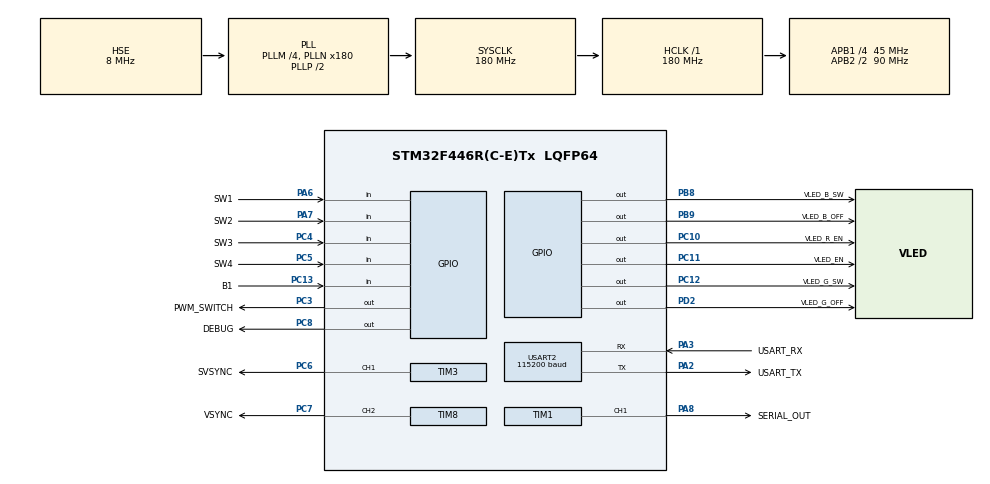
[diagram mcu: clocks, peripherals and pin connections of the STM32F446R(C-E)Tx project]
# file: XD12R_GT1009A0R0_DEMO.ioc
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Dma.Request0=TIM1_CH1
Dma.Request1=USART2_TX
Dma.TIM1_CH1.0.Direction=DMA_MEMORY_TO_PERIPH
Dma.TIM1_CH1.0.FIFOMode=DMA_FIFOMODE_DISABLE
Dma.TIM1_CH1.0.Instance=DMA2_Stream1
Dma.TIM1_CH1.0.MemDataAlignment=DMA_MDATAALIGN_HALFWORD
Dma.TIM1_CH1.0.MemInc=DMA_MINC_ENABLE
Dma.TIM1_CH1.0.Mode=DMA_NORMAL
Dma.TIM1_CH1.0.PeriphDataAlignment=DMA_PDATAALIGN_HALFWORD
Dma.TIM1_CH1.0.PeriphInc=DMA_PINC_DISABLE
Dma.TIM1_CH1.0.Priority=DMA_PRIORITY_LOW
Dma.USART2_TX.1.Direction=DMA_MEMORY_TO_PERIPH
Dma.USART2_TX.1.FIFOMode=DMA_FIFOMODE_DISABLE
Dma.USART2_TX.1.Instance=DMA1_Stream6
Dma.USART2_TX.1.MemDataAlignment=DMA_MDATAALIGN_BYTE
Dma.USART2_TX.1.MemInc=DMA_MINC_ENABLE
Dma.USART2_TX.1.Mode=DMA_NORMAL
Dma.USART2_TX.1.PeriphDataAlignment=DMA_PDATAALIGN_BYTE
Dma.USART2_TX.1.PeriphInc=DMA_PINC_DISABLE
Dma.USART2_TX.1.Priority=DMA_PRIORITY_LOW
Mcu.Family=STM32F4
Mcu.Name=STM32F446R(C-E)Tx
Mcu.Package=LQFP64
NVIC.DMA1_Stream6_IRQn=true\:0\:0\:false\:false\:true\:false\:true\:true
NVIC.DMA2_Stream1_IRQn=true\:0\:0\:false\:false\:true\:false\:true\:true
NVIC.PriorityGroup=NVIC_PRIORITYGROUP_4
NVIC.TIM3_IRQn=true\:1\:0\:true\:false\:true\:true\:true\:true
NVIC.TIM8_UP_TIM13_IRQn=true\:1\:0\:true\:false\:true\:true\:true\:true
NVIC.USART2_IRQn=true\:5\:0\:true\:false\:true\:true\:true\:true
PA13.GPIO_Label=TMS
PA13.Mode=Serial_Wire
PA13.Signal=SYS_JTMS-SWDIO
PA14.GPIO_Label=TCK
PA14.Mode=Serial_Wire
PA14.Signal=SYS_JTCK-SWCLK
PA2.GPIO_Label=USART_TX
PA2.Mode=Asynchronous
PA2.Signal=USART2_TX
PA3.GPIO_Label=USART_RX
PA3.Mode=Asynchronous
PA3.Signal=USART2_RX
PA6.GPIO_Label=SW1
PA6.Signal=GPIO_Input
PA7.GPIO_Label=SW2
PA7.Signal=GPIO_Input
PA8.GPIO_Label=SERIAL_OUT
PA8.GPIO_PuPd=GPIO_PULLDOWN
PA8.GPIO_Speed=GPIO_SPEED_FREQ_VERY_HIGH
PA8.Signal=S_TIM1_CH1
PB8.GPIO_Label=VLED_B_SW
PB8.PinState=GPIO_PIN_SET
PB8.Signal=GPIO_Output
PB9.GPIO_Label=VLED_B_OFF
PB9.GPIO_Speed=GPIO_SPEED_FREQ_VERY_HIGH
PB9.Signal=GPIO_Output
PC10.GPIO_Label=VLED_R_EN
PC10.Signal=GPIO_Output
PC11.GPIO_Label=VLED_EN
PC11.Signal=GPIO_Output
PC12.GPIO_Label=VLED_G_SW
PC12.Signal=GPIO_Output
PC13.GPIO_Label=B1
PC13.GPIO_PuPd=GPIO_PULLUP
PC13.Signal=GPIO_Input
PC14-OSC32_IN.Mode=LSE-External-Oscillator
PC14-OSC32_IN.Signal=RCC_OSC32_IN
PC15-OSC32_OUT.Mode=LSE-External-Oscillator
PC15-OSC32_OUT.Signal=RCC_OSC32_OUT
PC3.GPIO_Label=PWM_SWITCH
PC3.GPIO_Speed=GPIO_SPEED_FREQ_VERY_HIGH
PC3.Signal=GPIO_Output
PC4.GPIO_Label=SW3
PC4.Signal=GPIO_Input
PC5.GPIO_Label=SW4
PC5.Signal=GPIO_Input
PC6.GPIO_Label=SVSYNC
PC6.Signal=S_TIM3_CH1
PC7.GPIO_Label=VSYNC
PC7.Signal=S_TIM8_CH2
PC8.GPIO_Label=DEBUG
PC8.Signal=GPIO_Output
PD2.GPIO_Label=VLED_G_OFF
PD2.Signal=GPIO_Output
PH0-OSC_IN.Mode=HSE-External-Oscillator
PH0-OSC_IN.Signal=RCC_OSC_IN
PH1-OSC_OUT.Mode=HSE-External-Oscillator
PH1-OSC_OUT.Signal=RCC_OSC_OUT
ProjectManager.HeapSize=0x200
ProjectManager.StackSize=0x800
ProjectManager.TargetToolchain=EWARM V8.32
RCC.48MHZClocksFreq_Value=84000000
RCC.AHBFreq_Value=180000000
RCC.APB1CLKDivider=RCC_HCLK_DIV4
RCC.APB1Freq_Value=45000000
RCC.APB1TimFreq_Value=90000000
RCC.APB2CLKDivider=RCC_HCLK_DIV2
RCC.APB2Freq_Value=90000000
RCC.APB2TimFreq_Value=180000000
RCC.CortexFreq_Value=180000000
RCC.FLatency-AdvancedSettings=FLASH_LATENCY_5
RCC.HCLKFreq_Value=180000000
RCC.HSE_VALUE=8000000
RCC.HSI_VALUE=16000000
RCC.PLLI2SM=8
RCC.PLLI2SN=400
RCC.PLLI2SR=5
RCC.PLLM=4
RCC.PLLN=180
RCC.PLLSourceVirtual=RCC_PLLSOURCE_HSE
RCC.RCC_MCO1Source=RCC_MCO1SOURCE_PLLCLK
RCC.RCC_MCO2Source=RCC_MCO2SOURCE_PLLI2SCLK
RCC.RCC_MCODiv2=RCC_MCODIV_5
RCC.SYSCLKFreq_VALUE=180000000
RCC.SYSCLKSource=RCC_SYSCLKSOURCE_PLLCLK
RCC.USBFreq_Value=180000000
RCC.VCOOutputFreq_Value=360000000
SH.S_TIM1_CH1.0=TIM1_CH1,PWM Generation1 CH1
SH.S_TIM3_CH1.0=TIM3_CH1,PWM Generation1 CH1
SH.S_TIM8_CH2.0=TIM8_CH2,PWM Generation2 CH2
TIM1.AutomaticOutput=TIM_AUTOMATICOUTPUT_ENABLE
TIM1.Channel-PWM\ Generation1\ CH1=TIM_CHANNEL_1
TIM1.Period=179
TIM12.AutoReloadPreload=TIM_AUTORELOAD_PRELOAD_ENABLE
TIM12.ClockDivision=TIM_CLOCKDIVISION_DIV1
TIM12.Period=65535
TIM12.Prescaler=89
TIM3.AutoReloadPreload=TIM_AUTORELOAD_PRELOAD_DISABLE
TIM3.Channel-PWM\ Generation1\ CH1=TIM_CHANNEL_1
TIM3.Period=719
TIM3.Prescaler=0
TIM3.Pulse-PWM\ Generation1\ CH1=359
TIM8.AutomaticOutput=TIM_AUTOMATICOUTPUT_ENABLE
TIM8.Channel-PWM\ Generation2\ CH2=TIM_CHANNEL_2
TIM8.Period=49999
TIM8.Prescaler=29
TIM8.Pulse-PWM\ Generation2\ CH2=40
USART2.BaudRate=115200
USART2.VirtualMode=VM_ASYNC
VP_TIM12_VS_ClockSourceINT.Mode=Internal
VP_TIM1_VS_ClockSourceINT.Mode=Internal
VP_TIM3_VS_ClockSourceINT.Mode=Internal
VP_TIM8_VS_ClockSourceINT.Mode=Internal
board=NUCLEO-F446RE

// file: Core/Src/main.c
/* USER CODE BEGIN Header */
/**
  ******************************************************************************
  * @file           : main.c
  * @brief          : Main program body
  ******************************************************************************
  * @attention
  *
  * <h2><center>&copy; Copyright (c) 2021 STMicroelectronics.
  * All rights reserved.</center></h2>
  *
  * This software component is licensed by ST under Ultimate Liberty license
  * SLA0044, the "License"; You may not use this file except in compliance with
  * the License. You may obtain a copy of the License at:
  *                             www.st.com/SLA0044
  *
  ******************************************************************************
  */
#define __XDIC_MAIN_C__
#include <stdint.h>
/* USER CODE END Header */
#include "main.h"

/* USER CODE BEGIN Includes */
#include "config.h"
#include "jigbd_if.h"
#include "vsync_task.h"
#include "xdic.h"
#include "uart.h"
/* USER CODE END Includes */

/* USER CODE BEGIN PTD */
typedef void (*func_t)(void);

typedef struct tag_KEY_INFO
{
    uint32_t now_state;
    uint32_t prev_state;
    uint8_t press_cnt;
    func_t function;
} key_info_t;
/* USER CODE END PTD */

/* USER CODE BEGIN PD */
#define KEY_SIZE    (4)
/* USER CODE END PD */

/* USER CODE BEGIN PV */
static GPIO_TypeDef* gp_key_port[KEY_SIZE] = { SW1_GPIO_Port, SW2_GPIO_Port, SW3_GPIO_Port, SW4_GPIO_Port };
static uint32_t gn_key_pin[KEY_SIZE] = { SW1_Pin, SW2_Pin, SW3_Pin, SW4_Pin };
static key_info_t gt_key_info[KEY_SIZE] =
{
    {
        .now_state = 1,
        .prev_state = 1,
        .press_cnt = 0,
    },
    {
        .now_state = 1,
        .prev_state = 1,
        .press_cnt = 0,
    },
    {
        .now_state = 1,
        .prev_state = 1,
        .press_cnt = 0,
    },
    {
        .now_state = 1,
        .prev_state = 1,
        .press_cnt = 0,
    },
};
static uint8_t gn_key_task_tick;
/* USER CODE END PV */

void SystemClock_Config(void);
static void MX_GPIO_Init(void);
static void MX_DMA_Init(void);
static void MX_USART2_UART_Init(void);
static void MX_TIM12_Init(void);
static void MX_TIM8_Init(void);
static void MX_TIM1_Init(void);
static void MX_TIM3_Init(void);

/* USER CODE BEGIN 0 */
static void key_func_1(void)
{
    static uint8_t color = 1;
    LED_Select_Color(color);
    ++color;
    if (color == LED_COLOR_MAX)
    {
        color = 0;
    }
}

static void key_func_2(void)
{
    LED_Select_Brightness_Down();
}

static void key_func_3(void)
{
    LED_Select_Brightness_Up();
}

static void key_func_4(void)
{
    static uint8_t patter = 0;
    LED_Select_Pattern(patter);
    ++patter;
    if (patter == LED_PATTERN_MAX)
    {
        patter = 0;
    }
}

static void Key_Task(void)
{
    if (gn_key_task_tick == 0)
    {
        for (uint8_t i = 0U; i < KEY_SIZE; ++i)
        {
            gt_key_info[i].now_state = LL_GPIO_IsInputPinSet(gp_key_port[i], gn_key_pin[i]);
            if (gt_key_info[i].now_state != gt_key_info[i].prev_state)
            {
                if (gt_key_info[i].now_state == 0)
                {
                }
                else // Button Released
                {
                    if (gt_key_info[i].press_cnt >= 10)
                    {
                        if (gt_key_info[i].function != NULL)
                        {
                            gt_key_info[i].function();
                        }
                    }
                    gt_key_info[i].press_cnt = 0U;
                }
                gt_key_info[i].prev_state = gt_key_info[i].now_state;
            }
            else
            {
                if (gt_key_info[i].now_state == 0) // Button Pressed
                {
                    ++gt_key_info[i].press_cnt;
                }
                else
                {
                    // nothing
                }
            }
        }
        gn_key_task_tick = 10U; //10ms
    }
}

void sys_tick_handler(void)
{
    if (gn_xd_rx_timeout)
    {
        --gn_xd_rx_timeout;
    }
    if (gn_key_task_tick)
    {
        --gn_key_task_tick;
    }
}

/* USER CODE END 0 */

int main(void)
{

  /* MCU Configuration--------------------------------------------------------*/

  /* Reset of all peripherals, Initializes the Flash interface and the Systick. */
  HAL_Init();

  /* Configure the system clock */
  SystemClock_Config();

  /* Initialize all configured peripherals */
  MX_GPIO_Init();
  MX_DMA_Init();
  MX_USART2_UART_Init();
  MX_TIM12_Init();
  MX_TIM8_Init();
  MX_TIM1_Init();
  MX_TIM3_Init();
  /* USER CODE BEGIN 2 */

    gt_key_info[0].function = key_func_1;
    gt_key_info[1].function = key_func_2;
    gt_key_info[2].function = key_func_3;
    gt_key_info[3].function = key_func_4;

    JigBD_IF_Link_DMA_With_Buffer();

    LL_TIM_ClearFlag_UPDATE(TIM3);
    LL_TIM_EnableIT_UPDATE(TIM3);
    LL_TIM_DisableCounter(TIM3);
    LL_TIM_SetCounter(TIM3, 0);

    Comm_Init();

    LL_mDelay(100);
    XDIC_Init();
    Vsync_Timer_Start();

  /* USER CODE END 2 */

  /* Infinite loop */
  while (1)
  {

    /* USER CODE BEGIN 3 */
    XDIC_Vsync_Task();
    Comm_UART_Task();
    Key_Task();
  }
  /* USER CODE END 3 */
}

void SystemClock_Config(void)
{
  RCC_OscInitTypeDef RCC_OscInitStruct = {0};
  RCC_ClkInitTypeDef RCC_ClkInitStruct = {0};

  /** Configure the main internal regulator output voltage
  */
  __HAL_RCC_PWR_CLK_ENABLE();
  __HAL_PWR_VOLTAGESCALING_CONFIG(PWR_REGULATOR_VOLTAGE_SCALE1);

  /** Initializes the RCC Oscillators according to the specified parameters
  * in the RCC_OscInitTypeDef structure.
  */
  RCC_OscInitStruct.OscillatorType = RCC_OSCILLATORTYPE_HSE;
  RCC_OscInitStruct.HSEState = RCC_HSE_ON;
  RCC_OscInitStruct.PLL.PLLState = RCC_PLL_ON;
  RCC_OscInitStruct.PLL.PLLSource = RCC_PLLSOURCE_HSE;
  RCC_OscInitStruct.PLL.PLLM = 4;
  RCC_OscInitStruct.PLL.PLLN = 180;
  RCC_OscInitStruct.PLL.PLLP = RCC_PLLP_DIV2;
  RCC_OscInitStruct.PLL.PLLQ = 2;
  RCC_OscInitStruct.PLL.PLLR = 2;
  if (HAL_RCC_OscConfig(&RCC_OscInitStruct) != HAL_OK)
  {
    Error_Handler();
  }

  /** Activate the Over-Drive mode
  */
  if (HAL_PWREx_EnableOverDrive() != HAL_OK)
  {
    Error_Handler();
  }

  /** Initializes the CPU, AHB and APB buses clocks
  */
  RCC_ClkInitStruct.ClockType = RCC_CLOCKTYPE_HCLK|RCC_CLOCKTYPE_SYSCLK
                              |RCC_CLOCKTYPE_PCLK1|RCC_CLOCKTYPE_PCLK2;
  RCC_ClkInitStruct.SYSCLKSource = RCC_SYSCLKSOURCE_PLLCLK;
  RCC_ClkInitStruct.AHBCLKDivider = RCC_SYSCLK_DIV1;
  RCC_ClkInitStruct.APB1CLKDivider = RCC_HCLK_DIV4;
  RCC_ClkInitStruct.APB2CLKDivider = RCC_HCLK_DIV2;

  if (HAL_RCC_ClockConfig(&RCC_ClkInitStruct, FLASH_LATENCY_5) != HAL_OK)
  {
    Error_Handler();
  }
}

static void MX_TIM1_Init(void)
{

  LL_TIM_InitTypeDef TIM_InitStruct = {0};
  LL_TIM_OC_InitTypeDef TIM_OC_InitStruct = {0};
  LL_TIM_BDTR_InitTypeDef TIM_BDTRInitStruct = {0};

  LL_GPIO_InitTypeDef GPIO_InitStruct = {0};

  /* Peripheral clock enable */
  LL_APB2_GRP1_EnableClock(LL_APB2_GRP1_PERIPH_TIM1);

  /* TIM1 DMA Init */

  /* TIM1_CH1 Init */
  LL_DMA_SetChannelSelection(DMA2, LL_DMA_STREAM_1, LL_DMA_CHANNEL_6);

  LL_DMA_SetDataTransferDirection(DMA2, LL_DMA_STREAM_1, LL_DMA_DIRECTION_MEMORY_TO_PERIPH);

  LL_DMA_SetStreamPriorityLevel(DMA2, LL_DMA_STREAM_1, LL_DMA_PRIORITY_LOW);

  LL_DMA_SetMode(DMA2, LL_DMA_STREAM_1, LL_DMA_MODE_NORMAL);

  LL_DMA_SetPeriphIncMode(DMA2, LL_DMA_STREAM_1, LL_DMA_PERIPH_NOINCREMENT);

  LL_DMA_SetMemoryIncMode(DMA2, LL_DMA_STREAM_1, LL_DMA_MEMORY_INCREMENT);

  LL_DMA_SetPeriphSize(DMA2, LL_DMA_STREAM_1, LL_DMA_PDATAALIGN_HALFWORD);

  LL_DMA_SetMemorySize(DMA2, LL_DMA_STREAM_1, LL_DMA_MDATAALIGN_HALFWORD);

  LL_DMA_DisableFifoMode(DMA2, LL_DMA_STREAM_1);

  TIM_InitStruct.Prescaler = 0;
  TIM_InitStruct.CounterMode = LL_TIM_COUNTERMODE_UP;
  TIM_InitStruct.Autoreload = 179;
  TIM_InitStruct.ClockDivision = LL_TIM_CLOCKDIVISION_DIV1;
  TIM_InitStruct.RepetitionCounter = 0;
  LL_TIM_Init(TIM1, &TIM_InitStruct);
  LL_TIM_DisableARRPreload(TIM1);
  LL_TIM_SetClockSource(TIM1, LL_TIM_CLOCKSOURCE_INTERNAL);
  LL_TIM_OC_EnablePreload(TIM1, LL_TIM_CHANNEL_CH1);
  TIM_OC_InitStruct.OCMode = LL_TIM_OCMODE_PWM1;
  TIM_OC_InitStruct.OCState = LL_TIM_OCSTATE_DISABLE;
  TIM_OC_InitStruct.OCNState = LL_TIM_OCSTATE_DISABLE;
  TIM_OC_InitStruct.CompareValue = 0;
  TIM_OC_InitStruct.OCPolarity = LL_TIM_OCPOLARITY_HIGH;
  TIM_OC_InitStruct.OCNPolarity = LL_TIM_OCPOLARITY_HIGH;
  TIM_OC_InitStruct.OCIdleState = LL_TIM_OCIDLESTATE_LOW;
  TIM_OC_InitStruct.OCNIdleState = LL_TIM_OCIDLESTATE_LOW;
  LL_TIM_OC_Init(TIM1, LL_TIM_CHANNEL_CH1, &TIM_OC_InitStruct);
  LL_TIM_OC_DisableFast(TIM1, LL_TIM_CHANNEL_CH1);
  LL_TIM_SetTriggerOutput(TIM1, LL_TIM_TRGO_RESET);
  LL_TIM_DisableMasterSlaveMode(TIM1);
  TIM_BDTRInitStruct.OSSRState = LL_TIM_OSSR_DISABLE;
  TIM_BDTRInitStruct.OSSIState = LL_TIM_OSSI_DISABLE;
  TIM_BDTRInitStruct.LockLevel = LL_TIM_LOCKLEVEL_OFF;
  TIM_BDTRInitStruct.DeadTime = 0;
  TIM_BDTRInitStruct.BreakState = LL_TIM_BREAK_DISABLE;
  TIM_BDTRInitStruct.BreakPolarity = LL_TIM_BREAK_POLARITY_HIGH;
  TIM_BDTRInitStruct.AutomaticOutput = LL_TIM_AUTOMATICOUTPUT_ENABLE;
  LL_TIM_BDTR_Init(TIM1, &TIM_BDTRInitStruct);
  /* USER CODE BEGIN TIM1_Init 2 */

    LL_TIM_CC_EnableChannel(TIM1, LL_TIM_CHANNEL_CH1);
    LL_TIM_EnableDMAReq_CC1(TIM1);
    LL_DMA_EnableIT_TC(DMA2, LL_DMA_STREAM_1);

    LL_DMA_ClearFlag_FE1(DMA2);
    LL_DMA_ClearFlag_HT1(DMA2);
    LL_DMA_ClearFlag_TC1(DMA2);

  /* USER CODE END TIM1_Init 2 */
  LL_AHB1_GRP1_EnableClock(LL_AHB1_GRP1_PERIPH_GPIOA);
  /**TIM1 GPIO Configuration
  PA8   ------> TIM1_CH1
  */
  GPIO_InitStruct.Pin = SERIAL_OUT_Pin;
  GPIO_InitStruct.Mode = LL_GPIO_MODE_ALTERNATE;
  GPIO_InitStruct.Speed = LL_GPIO_SPEED_FREQ_VERY_HIGH;
  GPIO_InitStruct.OutputType = LL_GPIO_OUTPUT_PUSHPULL;
  GPIO_InitStruct.Pull = LL_GPIO_PULL_DOWN;
  GPIO_InitStruct.Alternate = LL_GPIO_AF_1;
  LL_GPIO_Init(SERIAL_OUT_GPIO_Port, &GPIO_InitStruct);

}

static void MX_TIM3_Init(void)
{

  LL_TIM_InitTypeDef TIM_InitStruct = {0};
  LL_TIM_OC_InitTypeDef TIM_OC_InitStruct = {0};

  LL_GPIO_InitTypeDef GPIO_InitStruct = {0};

  /* Peripheral clock enable */
  LL_APB1_GRP1_EnableClock(LL_APB1_GRP1_PERIPH_TIM3);

  /* TIM3 interrupt Init */
  NVIC_SetPriority(TIM3_IRQn, NVIC_EncodePriority(NVIC_GetPriorityGrouping(),1, 0));
  NVIC_EnableIRQ(TIM3_IRQn);

  TIM_InitStruct.Prescaler = 0;
  TIM_InitStruct.CounterMode = LL_TIM_COUNTERMODE_UP;
  TIM_InitStruct.Autoreload = 719;
  TIM_InitStruct.ClockDivision = LL_TIM_CLOCKDIVISION_DIV1;
  LL_TIM_Init(TIM3, &TIM_InitStruct);
  LL_TIM_DisableARRPreload(TIM3);
  LL_TIM_SetClockSource(TIM3, LL_TIM_CLOCKSOURCE_INTERNAL);
  LL_TIM_OC_EnablePreload(TIM3, LL_TIM_CHANNEL_CH1);
  TIM_OC_InitStruct.OCMode = LL_TIM_OCMODE_PWM1;
  TIM_OC_InitStruct.OCState = LL_TIM_OCSTATE_DISABLE;
  TIM_OC_InitStruct.OCNState = LL_TIM_OCSTATE_DISABLE;
  TIM_OC_InitStruct.CompareValue = 359;
  TIM_OC_InitStruct.OCPolarity = LL_TIM_OCPOLARITY_HIGH;
  LL_TIM_OC_Init(TIM3, LL_TIM_CHANNEL_CH1, &TIM_OC_InitStruct);
  LL_TIM_OC_DisableFast(TIM3, LL_TIM_CHANNEL_CH1);
  LL_TIM_SetTriggerOutput(TIM3, LL_TIM_TRGO_RESET);
  LL_TIM_DisableMasterSlaveMode(TIM3);
  LL_TIM_OC_DisablePreload(TIM3, LL_TIM_CHANNEL_CH1);
  LL_AHB1_GRP1_EnableClock(LL_AHB1_GRP1_PERIPH_GPIOC);
  /**TIM3 GPIO Configuration
  PC6   ------> TIM3_CH1
  */
  GPIO_InitStruct.Pin = SVSYNC_Pin;
  GPIO_InitStruct.Mode = LL_GPIO_MODE_ALTERNATE;
  GPIO_InitStruct.Speed = LL_GPIO_SPEED_FREQ_LOW;
  GPIO_InitStruct.OutputType = LL_GPIO_OUTPUT_PUSHPULL;
  GPIO_InitStruct.Pull = LL_GPIO_PULL_NO;
  GPIO_InitStruct.Alternate = LL_GPIO_AF_2;
  LL_GPIO_Init(SVSYNC_GPIO_Port, &GPIO_InitStruct);

}

static void MX_TIM8_Init(void)
{

  LL_TIM_InitTypeDef TIM_InitStruct = {0};
  LL_TIM_OC_InitTypeDef TIM_OC_InitStruct = {0};
  LL_TIM_BDTR_InitTypeDef TIM_BDTRInitStruct = {0};

  LL_GPIO_InitTypeDef GPIO_InitStruct = {0};

  /* Peripheral clock enable */
  LL_APB2_GRP1_EnableClock(LL_APB2_GRP1_PERIPH_TIM8);

  /* TIM8 interrupt Init */
  NVIC_SetPriority(TIM8_UP_TIM13_IRQn, NVIC_EncodePriority(NVIC_GetPriorityGrouping(),1, 0));
  NVIC_EnableIRQ(TIM8_UP_TIM13_IRQn);

  TIM_InitStruct.Prescaler = 29;
  TIM_InitStruct.CounterMode = LL_TIM_COUNTERMODE_UP;
  TIM_InitStruct.Autoreload = 49999;
  TIM_InitStruct.ClockDivision = LL_TIM_CLOCKDIVISION_DIV1;
  TIM_InitStruct.RepetitionCounter = 0;
  LL_TIM_Init(TIM8, &TIM_InitStruct);
  LL_TIM_EnableARRPreload(TIM8);
  LL_TIM_SetClockSource(TIM8, LL_TIM_CLOCKSOURCE_INTERNAL);
  LL_TIM_OC_EnablePreload(TIM8, LL_TIM_CHANNEL_CH2);
  TIM_OC_InitStruct.OCMode = LL_TIM_OCMODE_PWM1;
  TIM_OC_InitStruct.OCState = LL_TIM_OCSTATE_DISABLE;
  TIM_OC_InitStruct.OCNState = LL_TIM_OCSTATE_DISABLE;
  TIM_OC_InitStruct.CompareValue = 40;
  TIM_OC_InitStruct.OCPolarity = LL_TIM_OCPOLARITY_HIGH;
  TIM_OC_InitStruct.OCNPolarity = LL_TIM_OCPOLARITY_HIGH;
  TIM_OC_InitStruct.OCIdleState = LL_TIM_OCIDLESTATE_LOW;
  TIM_OC_InitStruct.OCNIdleState = LL_TIM_OCIDLESTATE_LOW;
  LL_TIM_OC_Init(TIM8, LL_TIM_CHANNEL_CH2, &TIM_OC_InitStruct);
  LL_TIM_OC_DisableFast(TIM8, LL_TIM_CHANNEL_CH2);
  LL_TIM_SetTriggerOutput(TIM8, LL_TIM_TRGO_RESET);
  LL_TIM_DisableMasterSlaveMode(TIM8);
  TIM_BDTRInitStruct.OSSRState = LL_TIM_OSSR_DISABLE;
  TIM_BDTRInitStruct.OSSIState = LL_TIM_OSSI_DISABLE;
  TIM_BDTRInitStruct.LockLevel = LL_TIM_LOCKLEVEL_OFF;
  TIM_BDTRInitStruct.DeadTime = 0;
  TIM_BDTRInitStruct.BreakState = LL_TIM_BREAK_DISABLE;
  TIM_BDTRInitStruct.BreakPolarity = LL_TIM_BREAK_POLARITY_HIGH;
  TIM_BDTRInitStruct.AutomaticOutput = LL_TIM_AUTOMATICOUTPUT_ENABLE;
  LL_TIM_BDTR_Init(TIM8, &TIM_BDTRInitStruct);
  LL_AHB1_GRP1_EnableClock(LL_AHB1_GRP1_PERIPH_GPIOC);
  /**TIM8 GPIO Configuration
  PC7   ------> TIM8_CH2
  */
  GPIO_InitStruct.Pin = VSYNC_Pin;
  GPIO_InitStruct.Mode = LL_GPIO_MODE_ALTERNATE;
  GPIO_InitStruct.Speed = LL_GPIO_SPEED_FREQ_LOW;
  GPIO_InitStruct.OutputType = LL_GPIO_OUTPUT_PUSHPULL;
  GPIO_InitStruct.Pull = LL_GPIO_PULL_NO;
  GPIO_InitStruct.Alternate = LL_GPIO_AF_3;
  LL_GPIO_Init(VSYNC_GPIO_Port, &GPIO_InitStruct);

}

static void MX_TIM12_Init(void)
{

  LL_TIM_InitTypeDef TIM_InitStruct = {0};

  /* Peripheral clock enable */
  LL_APB1_GRP1_EnableClock(LL_APB1_GRP1_PERIPH_TIM12);

  TIM_InitStruct.Prescaler = 89;
  TIM_InitStruct.CounterMode = LL_TIM_COUNTERMODE_UP;
  TIM_InitStruct.Autoreload = 65535;
  TIM_InitStruct.ClockDivision = LL_TIM_CLOCKDIVISION_DIV1;
  LL_TIM_Init(TIM12, &TIM_InitStruct);
  LL_TIM_EnableARRPreload(TIM12);
  LL_TIM_SetClockSource(TIM12, LL_TIM_CLOCKSOURCE_INTERNAL);
  /* USER CODE BEGIN TIM12_Init 2 */
    LL_TIM_SetCounter(TIM12, 0);
    LL_TIM_EnableCounter(TIM12);
  /* USER CODE END TIM12_Init 2 */

}

static void MX_USART2_UART_Init(void)
{

  LL_USART_InitTypeDef USART_InitStruct = {0};

  LL_GPIO_InitTypeDef GPIO_InitStruct = {0};

  /* Peripheral clock enable */
  LL_APB1_GRP1_EnableClock(LL_APB1_GRP1_PERIPH_USART2);

  LL_AHB1_GRP1_EnableClock(LL_AHB1_GRP1_PERIPH_GPIOA);
  /**USART2 GPIO Configuration
  PA2   ------> USART2_TX
  PA3   ------> USART2_RX
  */
  GPIO_InitStruct.Pin = USART_TX_Pin|USART_RX_Pin;
  GPIO_InitStruct.Mode = LL_GPIO_MODE_ALTERNATE;
  GPIO_InitStruct.Speed = LL_GPIO_SPEED_FREQ_VERY_HIGH;
  GPIO_InitStruct.OutputType = LL_GPIO_OUTPUT_PUSHPULL;
  GPIO_InitStruct.Pull = LL_GPIO_PULL_NO;
  GPIO_InitStruct.Alternate = LL_GPIO_AF_7;
  LL_GPIO_Init(GPIOA, &GPIO_InitStruct);

  /* USART2 DMA Init */

  /* USART2_TX Init */
  LL_DMA_SetChannelSelection(DMA1, LL_DMA_STREAM_6, LL_DMA_CHANNEL_4);

  LL_DMA_SetDataTransferDirection(DMA1, LL_DMA_STREAM_6, LL_DMA_DIRECTION_MEMORY_TO_PERIPH);

  LL_DMA_SetStreamPriorityLevel(DMA1, LL_DMA_STREAM_6, LL_DMA_PRIORITY_LOW);

  LL_DMA_SetMode(DMA1, LL_DMA_STREAM_6, LL_DMA_MODE_NORMAL);

  LL_DMA_SetPeriphIncMode(DMA1, LL_DMA_STREAM_6, LL_DMA_PERIPH_NOINCREMENT);

  LL_DMA_SetMemoryIncMode(DMA1, LL_DMA_STREAM_6, LL_DMA_MEMORY_INCREMENT);

  LL_DMA_SetPeriphSize(DMA1, LL_DMA_STREAM_6, LL_DMA_PDATAALIGN_BYTE);

  LL_DMA_SetMemorySize(DMA1, LL_DMA_STREAM_6, LL_DMA_MDATAALIGN_BYTE);

  LL_DMA_DisableFifoMode(DMA1, LL_DMA_STREAM_6);

  /* USART2 interrupt Init */
  NVIC_SetPriority(USART2_IRQn, NVIC_EncodePriority(NVIC_GetPriorityGrouping(),5, 0));
  NVIC_EnableIRQ(USART2_IRQn);

  USART_InitStruct.BaudRate = 115200;
  USART_InitStruct.DataWidth = LL_USART_DATAWIDTH_8B;
  USART_InitStruct.StopBits = LL_USART_STOPBITS_1;
  USART_InitStruct.Parity = LL_USART_PARITY_NONE;
  USART_InitStruct.TransferDirection = LL_USART_DIRECTION_TX_RX;
  USART_InitStruct.HardwareFlowControl = LL_USART_HWCONTROL_NONE;
  USART_InitStruct.OverSampling = LL_USART_OVERSAMPLING_16;
  LL_USART_Init(USART2, &USART_InitStruct);
  LL_USART_ConfigAsyncMode(USART2);
  LL_USART_Enable(USART2);
  /* USER CODE BEGIN USART2_Init 2 */

    /* USART Tx */
    LL_DMA_EnableIT_TC(DMA1, LL_DMA_STREAM_6);
    LL_DMA_EnableIT_TE(DMA1, LL_DMA_STREAM_6);

    /* USART Rx */
    LL_USART_EnableIT_RXNE(USART2);
    LL_USART_EnableIT_ERROR(USART2);

    LL_DMA_ClearFlag_DME6(DMA1);
    LL_DMA_ClearFlag_TC6(DMA1);
    LL_DMA_ClearFlag_TE6(DMA1);

  /* USER CODE END USART2_Init 2 */

}

static void MX_DMA_Init(void)
{

  /* Init with LL driver */
  /* DMA controller clock enable */
  LL_AHB1_GRP1_EnableClock(LL_AHB1_GRP1_PERIPH_DMA2);
  LL_AHB1_GRP1_EnableClock(LL_AHB1_GRP1_PERIPH_DMA1);

  /* DMA interrupt init */
  /* DMA1_Stream6_IRQn interrupt configuration */
  NVIC_SetPriority(DMA1_Stream6_IRQn, NVIC_EncodePriority(NVIC_GetPriorityGrouping(),0, 0));
  NVIC_EnableIRQ(DMA1_Stream6_IRQn);
  /* DMA2_Stream1_IRQn interrupt configuration */
  NVIC_SetPriority(DMA2_Stream1_IRQn, NVIC_EncodePriority(NVIC_GetPriorityGrouping(),0, 0));
  NVIC_EnableIRQ(DMA2_Stream1_IRQn);

}

static void MX_GPIO_Init(void)
{
  LL_GPIO_InitTypeDef GPIO_InitStruct = {0};

  /* GPIO Ports Clock Enable */
  LL_AHB1_GRP1_EnableClock(LL_AHB1_GRP1_PERIPH_GPIOC);
  LL_AHB1_GRP1_EnableClock(LL_AHB1_GRP1_PERIPH_GPIOH);
  LL_AHB1_GRP1_EnableClock(LL_AHB1_GRP1_PERIPH_GPIOA);
  LL_AHB1_GRP1_EnableClock(LL_AHB1_GRP1_PERIPH_GPIOB);
  LL_AHB1_GRP1_EnableClock(LL_AHB1_GRP1_PERIPH_GPIOD);

  /**/
  LL_GPIO_ResetOutputPin(GPIOC, PWM_SWITCH_Pin|DEBUG_Pin|VLED_R_EN_Pin|VLED_EN_Pin
                          |VLED_G_SW_Pin);

  /**/
  LL_GPIO_ResetOutputPin(VLED_G_OFF_GPIO_Port, VLED_G_OFF_Pin);

  /**/
  LL_GPIO_ResetOutputPin(VLED_B_OFF_GPIO_Port, VLED_B_OFF_Pin);

  /**/
  LL_GPIO_SetOutputPin(VLED_B_SW_GPIO_Port, VLED_B_SW_Pin);

  /**/
  GPIO_InitStruct.Pin = B1_Pin;
  GPIO_InitStruct.Mode = LL_GPIO_MODE_INPUT;
  GPIO_InitStruct.Pull = LL_GPIO_PULL_UP;
  LL_GPIO_Init(B1_GPIO_Port, &GPIO_InitStruct);

  /**/
  GPIO_InitStruct.Pin = LL_GPIO_PIN_0|LL_GPIO_PIN_1|LL_GPIO_PIN_2|LL_GPIO_PIN_9;
  GPIO_InitStruct.Mode = LL_GPIO_MODE_ANALOG;
  GPIO_InitStruct.Pull = LL_GPIO_PULL_NO;
  LL_GPIO_Init(GPIOC, &GPIO_InitStruct);

  /**/
  GPIO_InitStruct.Pin = PWM_SWITCH_Pin;
  GPIO_InitStruct.Mode = LL_GPIO_MODE_OUTPUT;
  GPIO_InitStruct.Speed = LL_GPIO_SPEED_FREQ_VERY_HIGH;
  GPIO_InitStruct.OutputType = LL_GPIO_OUTPUT_PUSHPULL;
  GPIO_InitStruct.Pull = LL_GPIO_PULL_NO;
  LL_GPIO_Init(PWM_SWITCH_GPIO_Port, &GPIO_InitStruct);

  /**/
  GPIO_InitStruct.Pin = LL_GPIO_PIN_0|LL_GPIO_PIN_1|LL_GPIO_PIN_4|LL_GPIO_PIN_5
                          |LL_GPIO_PIN_9|LL_GPIO_PIN_10|LL_GPIO_PIN_11|LL_GPIO_PIN_12
                          |LL_GPIO_PIN_15;
  GPIO_InitStruct.Mode = LL_GPIO_MODE_ANALOG;
  GPIO_InitStruct.Pull = LL_GPIO_PULL_NO;
  LL_GPIO_Init(GPIOA, &GPIO_InitStruct);

  /**/
  GPIO_InitStruct.Pin = SW1_Pin|SW2_Pin;
  GPIO_InitStruct.Mode = LL_GPIO_MODE_INPUT;
  GPIO_InitStruct.Pull = LL_GPIO_PULL_NO;
  LL_GPIO_Init(GPIOA, &GPIO_InitStruct);

  /**/
  GPIO_InitStruct.Pin = SW3_Pin|SW4_Pin;
  GPIO_InitStruct.Mode = LL_GPIO_MODE_INPUT;
  GPIO_InitStruct.Pull = LL_GPIO_PULL_NO;
  LL_GPIO_Init(GPIOC, &GPIO_InitStruct);

  /**/
  GPIO_InitStruct.Pin = LL_GPIO_PIN_0|LL_GPIO_PIN_1|LL_GPIO_PIN_2|LL_GPIO_PIN_10
                          |LL_GPIO_PIN_12|LL_GPIO_PIN_13|LL_GPIO_PIN_14|LL_GPIO_PIN_15
                          |LL_GPIO_PIN_3|LL_GPIO_PIN_4|LL_GPIO_PIN_5|LL_GPIO_PIN_6
                          |LL_GPIO_PIN_7;
  GPIO_InitStruct.Mode = LL_GPIO_MODE_ANALOG;
  GPIO_InitStruct.Pull = LL_GPIO_PULL_NO;
  LL_GPIO_Init(GPIOB, &GPIO_InitStruct);

  /**/
  GPIO_InitStruct.Pin = DEBUG_Pin|VLED_R_EN_Pin|VLED_EN_Pin|VLED_G_SW_Pin;
  GPIO_InitStruct.Mode = LL_GPIO_MODE_OUTPUT;
  GPIO_InitStruct.Speed = LL_GPIO_SPEED_FREQ_LOW;
  GPIO_InitStruct.OutputType = LL_GPIO_OUTPUT_PUSHPULL;
  GPIO_InitStruct.Pull = LL_GPIO_PULL_NO;
  LL_GPIO_Init(GPIOC, &GPIO_InitStruct);

  /**/
  GPIO_InitStruct.Pin = VLED_G_OFF_Pin;
  GPIO_InitStruct.Mode = LL_GPIO_MODE_OUTPUT;
  GPIO_InitStruct.Speed = LL_GPIO_SPEED_FREQ_LOW;
  GPIO_InitStruct.OutputType = LL_GPIO_OUTPUT_PUSHPULL;
  GPIO_InitStruct.Pull = LL_GPIO_PULL_NO;
  LL_GPIO_Init(VLED_G_OFF_GPIO_Port, &GPIO_InitStruct);

  /**/
  GPIO_InitStruct.Pin = VLED_B_SW_Pin;
  GPIO_InitStruct.Mode = LL_GPIO_MODE_OUTPUT;
  GPIO_InitStruct.Speed = LL_GPIO_SPEED_FREQ_LOW;
  GPIO_InitStruct.OutputType = LL_GPIO_OUTPUT_PUSHPULL;
  GPIO_InitStruct.Pull = LL_GPIO_PULL_NO;
  LL_GPIO_Init(VLED_B_SW_GPIO_Port, &GPIO_InitStruct);

  /**/
  GPIO_InitStruct.Pin = VLED_B_OFF_Pin;
  GPIO_InitStruct.Mode = LL_GPIO_MODE_OUTPUT;
  GPIO_InitStruct.Speed = LL_GPIO_SPEED_FREQ_VERY_HIGH;
  GPIO_InitStruct.OutputType = LL_GPIO_OUTPUT_PUSHPULL;
  GPIO_InitStruct.Pull = LL_GPIO_PULL_NO;
  LL_GPIO_Init(VLED_B_OFF_GPIO_Port, &GPIO_InitStruct);

  /* USER CODE BEGIN MX_GPIO_Init_2 */
    PWM_SWITCH_LO();
  /* USER CODE END MX_GPIO_Init_2 */
}

void Error_Handler(void)
{
  __disable_irq();
  while (1)
  {
  }
}
